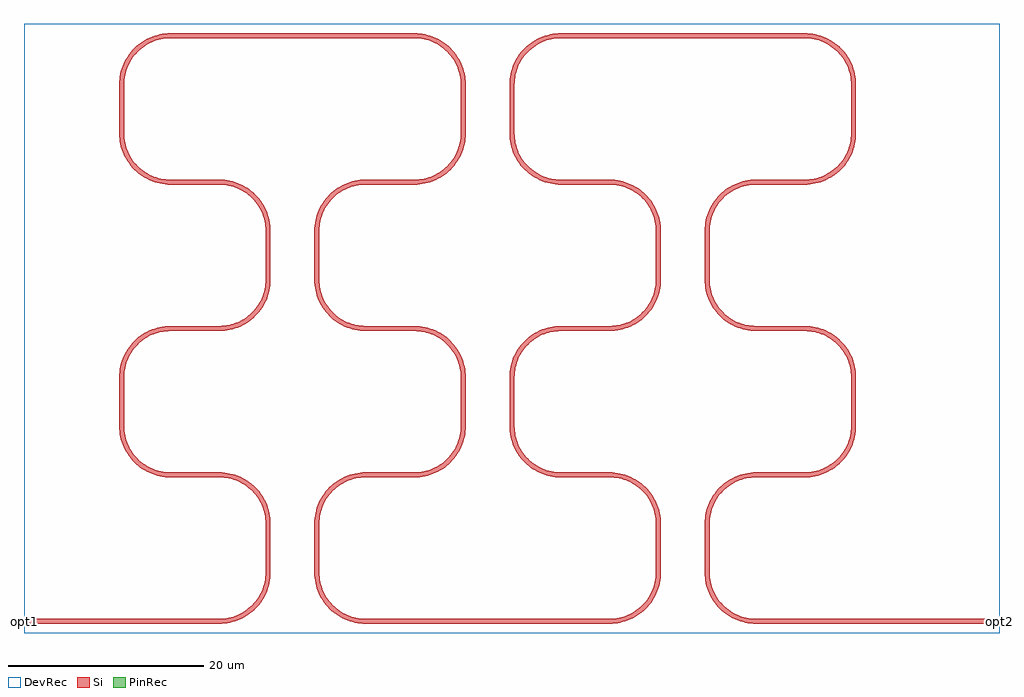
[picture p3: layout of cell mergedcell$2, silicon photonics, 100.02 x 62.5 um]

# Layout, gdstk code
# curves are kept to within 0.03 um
from math import pi, radians
import gdstk
lib = gdstk.Library(unit=1e-6, precision=1e-09)
def R(c, l, rs):  # rectangles x0, y0, x1, y1
    for r in rs: c.add(gdstk.rectangle(r[:2], r[2:], *l))
def P(c, l, *ps):  # polygons
    for p in ps: c.add(gdstk.Polygon(p, *l))
Si = (1, 0)
PinRec = (1, 10)
DevRec = (68, 0)

bend_circular_gdsfactory = lib.new_cell('bend_circular_gdsfactorypcomponentspbendspbend_circular_030d3130$1')
P(bend_circular_gdsfactory, Si, [(0,-0.25),(0,0.25),(0.988,0.354),(1.932,0.661),(2.587,1.016),(3.359,1.641),(3.984,2.413),(4.339,3.068),(4.646,4.012),(4.75,5),(5.25,5),(5.135,3.908),(4.796,2.865),(4.247,1.914),(3.712,1.288),(3.086,0.753),(2.135,0.204),(1.092,-0.135)])

straight_gdsfactorypcomp = lib.new_cell('straight_gdsfactorypcomponentspwaveguidespstraight_L5_N_c97c2272$2')
R(straight_gdsfactorypcomp, Si, [(0,-0.25,5,0.25)])

c_straight_gdsfactorypcomp = lib.new_cell('straight_gdsfactorypcomponentspwaveguidespstraight_L20__fccdfb5a$2')
R(c_straight_gdsfactorypcomp, Si, [(0,-0.25,20,0.25)])

cutback_bend90_gdsfactor = lib.new_cell('cutback_bend90_gdsfactorypcomponentsppcmspcutback_bend__5812b82d')
cutback_bend90_gdsfactor.add(gdstk.Reference(bend_circular_gdsfactory, (0,0)))
cutback_bend90_gdsfactor.add(gdstk.Reference(straight_gdsfactorypcomp, (5,5), rotation=pi/2))
cutback_bend90_gdsfactor.add(gdstk.Reference(bend_circular_gdsfactory, (5,10), rotation=pi/2))
cutback_bend90_gdsfactor.add(gdstk.Reference(straight_gdsfactorypcomp, (0,15), rotation=pi))
cutback_bend90_gdsfactor.add(gdstk.Reference(bend_circular_gdsfactory, (-10,20), rotation=3*pi/2))
cutback_bend90_gdsfactor.add(gdstk.Reference(straight_gdsfactorypcomp, (-10,20), rotation=pi/2))
cutback_bend90_gdsfactor.add(gdstk.Reference(bend_circular_gdsfactory, (-5,30), rotation=pi))
cutback_bend90_gdsfactor.add(gdstk.Reference(straight_gdsfactorypcomp, (-5,30)))
cutback_bend90_gdsfactor.add(gdstk.Reference(bend_circular_gdsfactory, (0,30)))
cutback_bend90_gdsfactor.add(gdstk.Reference(straight_gdsfactorypcomp, (5,35), rotation=pi/2))
cutback_bend90_gdsfactor.add(gdstk.Reference(bend_circular_gdsfactory, (5,40), rotation=pi/2))
cutback_bend90_gdsfactor.add(gdstk.Reference(straight_gdsfactorypcomp, (0,45), rotation=pi))
cutback_bend90_gdsfactor.add(gdstk.Reference(bend_circular_gdsfactory, (-10,50), rotation=3*pi/2))
cutback_bend90_gdsfactor.add(gdstk.Reference(straight_gdsfactorypcomp, (-10,50), rotation=pi/2))
cutback_bend90_gdsfactor.add(gdstk.Reference(bend_circular_gdsfactory, (-5,60), rotation=pi))
cutback_bend90_gdsfactor.add(gdstk.Reference(straight_gdsfactorypcomp, (-5,60)))
cutback_bend90_gdsfactor.add(gdstk.Reference(c_straight_gdsfactorypcomp, (0,60)))
cutback_bend90_gdsfactor.add(gdstk.Reference(bend_circular_gdsfactory, (25,55), rotation=pi/2))
cutback_bend90_gdsfactor.add(gdstk.Reference(straight_gdsfactorypcomp, (25,55), rotation=3*pi/2))
cutback_bend90_gdsfactor.add(gdstk.Reference(bend_circular_gdsfactory, (20,45)))
cutback_bend90_gdsfactor.add(gdstk.Reference(straight_gdsfactorypcomp, (20,45), rotation=pi))
cutback_bend90_gdsfactor.add(gdstk.Reference(bend_circular_gdsfactory, (15,45), rotation=pi))
cutback_bend90_gdsfactor.add(gdstk.Reference(straight_gdsfactorypcomp, (10,40), rotation=3*pi/2))
cutback_bend90_gdsfactor.add(gdstk.Reference(bend_circular_gdsfactory, (10,35), rotation=3*pi/2))
cutback_bend90_gdsfactor.add(gdstk.Reference(straight_gdsfactorypcomp, (15,30)))
cutback_bend90_gdsfactor.add(gdstk.Reference(bend_circular_gdsfactory, (25,25), rotation=pi/2))
cutback_bend90_gdsfactor.add(gdstk.Reference(straight_gdsfactorypcomp, (25,25), rotation=3*pi/2))
cutback_bend90_gdsfactor.add(gdstk.Reference(bend_circular_gdsfactory, (20,15)))
cutback_bend90_gdsfactor.add(gdstk.Reference(straight_gdsfactorypcomp, (20,15), rotation=pi))
cutback_bend90_gdsfactor.add(gdstk.Reference(bend_circular_gdsfactory, (15,15), rotation=pi))
cutback_bend90_gdsfactor.add(gdstk.Reference(straight_gdsfactorypcomp, (10,10), rotation=3*pi/2))
cutback_bend90_gdsfactor.add(gdstk.Reference(bend_circular_gdsfactory, (10,5), rotation=3*pi/2))
cutback_bend90_gdsfactor.add(gdstk.Reference(straight_gdsfactorypcomp, (15,0)))
cutback_bend90_gdsfactor.add(gdstk.Reference(c_straight_gdsfactorypcomp, (20,0)))
cutback_bend90_gdsfactor.add(gdstk.Reference(bend_circular_gdsfactory, (40,0)))
cutback_bend90_gdsfactor.add(gdstk.Reference(straight_gdsfactorypcomp, (45,5), rotation=pi/2))
cutback_bend90_gdsfactor.add(gdstk.Reference(bend_circular_gdsfactory, (45,10), rotation=pi/2))
cutback_bend90_gdsfactor.add(gdstk.Reference(straight_gdsfactorypcomp, (40,15), rotation=pi))
cutback_bend90_gdsfactor.add(gdstk.Reference(bend_circular_gdsfactory, (30,20), rotation=3*pi/2))
cutback_bend90_gdsfactor.add(gdstk.Reference(straight_gdsfactorypcomp, (30,20), rotation=pi/2))
cutback_bend90_gdsfactor.add(gdstk.Reference(bend_circular_gdsfactory, (35,30), rotation=pi))
cutback_bend90_gdsfactor.add(gdstk.Reference(straight_gdsfactorypcomp, (35,30)))
cutback_bend90_gdsfactor.add(gdstk.Reference(bend_circular_gdsfactory, (40,30)))
cutback_bend90_gdsfactor.add(gdstk.Reference(straight_gdsfactorypcomp, (45,35), rotation=pi/2))
cutback_bend90_gdsfactor.add(gdstk.Reference(bend_circular_gdsfactory, (45,40), rotation=pi/2))
cutback_bend90_gdsfactor.add(gdstk.Reference(straight_gdsfactorypcomp, (40,45), rotation=pi))
cutback_bend90_gdsfactor.add(gdstk.Reference(bend_circular_gdsfactory, (30,50), rotation=3*pi/2))
cutback_bend90_gdsfactor.add(gdstk.Reference(straight_gdsfactorypcomp, (30,50), rotation=pi/2))
cutback_bend90_gdsfactor.add(gdstk.Reference(bend_circular_gdsfactory, (35,60), rotation=pi))
cutback_bend90_gdsfactor.add(gdstk.Reference(straight_gdsfactorypcomp, (35,60)))
cutback_bend90_gdsfactor.add(gdstk.Reference(c_straight_gdsfactorypcomp, (40,60)))
cutback_bend90_gdsfactor.add(gdstk.Reference(bend_circular_gdsfactory, (65,55), rotation=pi/2))
cutback_bend90_gdsfactor.add(gdstk.Reference(straight_gdsfactorypcomp, (65,55), rotation=3*pi/2))
cutback_bend90_gdsfactor.add(gdstk.Reference(bend_circular_gdsfactory, (60,45)))
cutback_bend90_gdsfactor.add(gdstk.Reference(straight_gdsfactorypcomp, (60,45), rotation=pi))
cutback_bend90_gdsfactor.add(gdstk.Reference(bend_circular_gdsfactory, (55,45), rotation=pi))
cutback_bend90_gdsfactor.add(gdstk.Reference(straight_gdsfactorypcomp, (50,40), rotation=3*pi/2))
cutback_bend90_gdsfactor.add(gdstk.Reference(bend_circular_gdsfactory, (50,35), rotation=3*pi/2))
cutback_bend90_gdsfactor.add(gdstk.Reference(straight_gdsfactorypcomp, (55,30)))
cutback_bend90_gdsfactor.add(gdstk.Reference(bend_circular_gdsfactory, (65,25), rotation=pi/2))
cutback_bend90_gdsfactor.add(gdstk.Reference(straight_gdsfactorypcomp, (65,25), rotation=3*pi/2))
cutback_bend90_gdsfactor.add(gdstk.Reference(bend_circular_gdsfactory, (60,15)))
cutback_bend90_gdsfactor.add(gdstk.Reference(straight_gdsfactorypcomp, (60,15), rotation=pi))
cutback_bend90_gdsfactor.add(gdstk.Reference(bend_circular_gdsfactory, (55,15), rotation=pi))
cutback_bend90_gdsfactor.add(gdstk.Reference(straight_gdsfactorypcomp, (50,10), rotation=3*pi/2))
cutback_bend90_gdsfactor.add(gdstk.Reference(bend_circular_gdsfactory, (50,5), rotation=3*pi/2))
cutback_bend90_gdsfactor.add(gdstk.Reference(straight_gdsfactorypcomp, (55,0)))

bend_test_w0p5_r5_r2_c4_ = lib.new_cell('bend_test_W0p5_R5_R2_C4_OX0_OY0_OX60_OY0$1')
bend_test_w0p5_r5_r2_c4_.add(gdstk.Reference(cutback_bend90_gdsfactor, (0,0)))

c_straight_gdsfactorypcomp_ = lib.new_cell('straight_gdsfactorypcomponentspwaveguidespstraight_L20__87ee0427$2')
R(c_straight_gdsfactorypcomp_, Si, [(0,-0.25,20,0.25)])

mergedcell_2 = lib.new_cell('mergedcell$2')
R(mergedcell_2, DevRec, [(-20,-1.25,80,61.25)])
mergedcell_2.add(gdstk.FlexPath([(-19.99,0),(-20.01,0)], 0.5, ends="flush", simple_path=True, layer=1, datatype=10))  # PinRec
mergedcell_2.add(gdstk.FlexPath([(79.99,0),(80.01,0)], 0.5, ends="flush", simple_path=True, layer=1, datatype=10))  # PinRec
mergedcell_2.add(gdstk.Reference(bend_test_w0p5_r5_r2_c4_, (0,0)))
mergedcell_2.add(gdstk.Reference(c_straight_gdsfactorypcomp_, (-20,0)))
mergedcell_2.add(gdstk.Reference(c_straight_gdsfactorypcomp_, (60,0)))
mergedcell_2.add(gdstk.Label('opt1', (-20,0), layer=1, texttype=10))
mergedcell_2.add(gdstk.Label('opt2', (80,0), layer=1, texttype=10))

lib.write_gds('mergedcell_2.gds')
